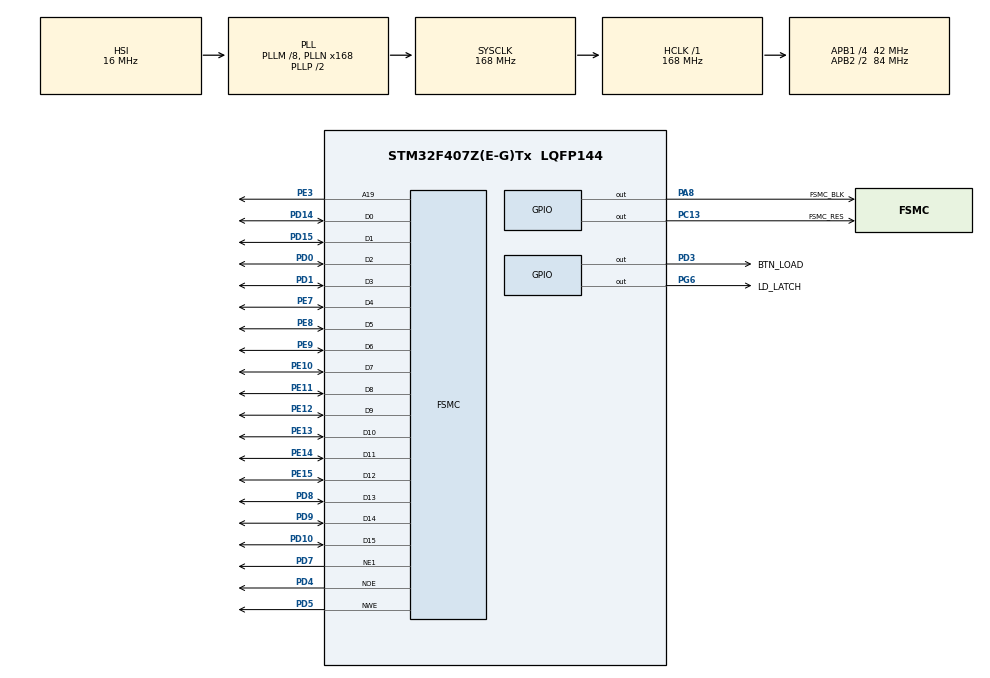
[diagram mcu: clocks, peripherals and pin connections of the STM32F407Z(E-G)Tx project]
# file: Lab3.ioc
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FSMC.AddressSetupTime1=0xf
FSMC.BusTurnAroundDuration1=0
FSMC.DataSetupTime1=60
FSMC.ExtendedAddressSetupTime1=8
FSMC.ExtendedBusTurnAroundDuration1=0
FSMC.ExtendedDataSetupTime1=9
FSMC.ExtendedMode1=FSMC_EXTENDED_MODE_ENABLE
Mcu.Family=STM32F4
Mcu.Name=STM32F407Z(E-G)Tx
Mcu.Package=LQFP144
NVIC.PriorityGroup=NVIC_PRIORITYGROUP_4
PA13.Mode=Serial_Wire
PA13.Signal=SYS_JTMS-SWDIO
PA14.Mode=Serial_Wire
PA14.Signal=SYS_JTCK-SWCLK
PA8.GPIO_Label=FSMC_BLK
PA8.Signal=GPIO_Output
PB3.Signal=SPI1_SCK
PB4.Signal=SPI1_MISO
PB5.Signal=SPI1_MOSI
PC13-ANTI_TAMP.GPIO_Label=FSMC_RES
PC13-ANTI_TAMP.Signal=GPIO_Output
PD0.Signal=FSMC_D2_DA2
PD1.Signal=FSMC_D3_DA3
PD10.Signal=FSMC_D15_DA15
PD14.Signal=FSMC_D0_DA0
PD15.Signal=FSMC_D1_DA1
PD3.GPIO_Label=BTN_LOAD
PD3.Signal=GPIO_Output
PD4.Signal=FSMC_NOE
PD5.Signal=FSMC_NWE
PD7.Mode=NorPsramChipSelect1_1
PD7.Signal=FSMC_NE1
PD8.Signal=FSMC_D13_DA13
PD9.Signal=FSMC_D14_DA14
PE10.Signal=FSMC_D7_DA7
PE11.Signal=FSMC_D8_DA8
PE12.Signal=FSMC_D9_DA9
PE13.Signal=FSMC_D10_DA10
PE14.Signal=FSMC_D11_DA11
PE15.Signal=FSMC_D12_DA12
PE3.Signal=FSMC_A19
PE7.Signal=FSMC_D4_DA4
PE8.Signal=FSMC_D5_DA5
PE9.Signal=FSMC_D6_DA6
PG6.GPIO_Label=LD_LATCH
PG6.Signal=GPIO_Output
PH0-OSC_IN.Mode=HSE-External-Oscillator
PH0-OSC_IN.Signal=RCC_OSC_IN
PH1-OSC_OUT.Mode=HSE-External-Oscillator
PH1-OSC_OUT.Signal=RCC_OSC_OUT
ProjectManager.HeapSize=0x200
ProjectManager.StackSize=0x400
ProjectManager.TargetToolchain=STM32CubeIDE
RCC.48MHZClocksFreq_Value=84000000
RCC.AHBFreq_Value=168000000
RCC.APB1CLKDivider=RCC_HCLK_DIV4
RCC.APB1Freq_Value=42000000
RCC.APB1TimFreq_Value=84000000
RCC.APB2CLKDivider=RCC_HCLK_DIV2
RCC.APB2Freq_Value=84000000
RCC.APB2TimFreq_Value=168000000
RCC.CortexFreq_Value=168000000
RCC.HCLKFreq_Value=168000000
RCC.HSE_VALUE=8000000
RCC.HSI_VALUE=16000000
RCC.LSE_VALUE=32768
RCC.PLLM=8
RCC.PLLN=168
RCC.SYSCLKFreq_VALUE=168000000
RCC.SYSCLKSource=RCC_SYSCLKSOURCE_PLLCLK
RCC.VCOOutputFreq_Value=336000000
SH.FSMC_A19.0=FSMC_A19,A19_1
SH.FSMC_D0_DA0.0=FSMC_D0,16b-d1
SH.FSMC_D10_DA10.0=FSMC_D10,16b-d1
SH.FSMC_D11_DA11.0=FSMC_D11,16b-d1
SH.FSMC_D12_DA12.0=FSMC_D12,16b-d1
SH.FSMC_D13_DA13.0=FSMC_D13,16b-d1
SH.FSMC_D14_DA14.0=FSMC_D14,16b-d1
SH.FSMC_D15_DA15.0=FSMC_D15,16b-d1
SH.FSMC_D1_DA1.0=FSMC_D1,16b-d1
SH.FSMC_D2_DA2.0=FSMC_D2,16b-d1
SH.FSMC_D3_DA3.0=FSMC_D3,16b-d1
SH.FSMC_D4_DA4.0=FSMC_D4,16b-d1
SH.FSMC_D5_DA5.0=FSMC_D5,16b-d1
SH.FSMC_D6_DA6.0=FSMC_D6,16b-d1
SH.FSMC_D7_DA7.0=FSMC_D7,16b-d1
SH.FSMC_D8_DA8.0=FSMC_D8,16b-d1
SH.FSMC_D9_DA9.0=FSMC_D9,16b-d1
SH.FSMC_NOE.0=FSMC_NOE,Lcd1
SH.FSMC_NWE.0=FSMC_NWE,Lcd1
board=custom

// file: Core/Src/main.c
/* USER CODE BEGIN Header */
/**
  ******************************************************************************
  * @file           : main.c
  * @brief          : Main program body
  ******************************************************************************
  * @attention
  *
  * Copyright (c) 2024 STMicroelectronics.
  * All rights reserved.
  *
  * This software is licensed under terms that can be found in the LICENSE file
  * in the root directory of this software component.
  * If no LICENSE file comes with this software, it is provided AS-IS.
  *
  ******************************************************************************
  */
/* USER CODE END Header */
#include "main.h"

/* USER CODE BEGIN Includes */
#include "button.h"
#include "lcd.h"
#include "software_timer.h"
/* USER CODE END Includes */

/* USER CODE BEGIN PTD */
typedef enum {
    MODE_NORMAL,
    MODE_ADJUST_RED,
    MODE_ADJUST_GREEN,
    MODE_ADJUST_YELLOW
} TrafficLightMode;

TrafficLightMode current_mode = MODE_NORMAL;
uint8_t red_cycle = 10, green_cycle = 10, yellow_cycle = 5; // Default durations

/* USER CODE END PTD */

SRAM_HandleTypeDef hsram1;

void SystemClock_Config(void);
static void MX_GPIO_Init(void);
static void MX_FSMC_Init(void);
/* USER CODE BEGIN PFP */
void system_init() {
    button_init();
    lcd_init();
    setTimer2(50); // 50ms timer
}

void display_status(const char* message, uint16_t fc, uint16_t bc) {
    lcd_Clear(bc);
    lcd_ShowStr(10, 10, (char*)message, fc, bc, 16, 0);
}
/* USER CODE END PFP */

/* USER CODE BEGIN 0 */
void handle_buttons() {
    if (button_count[0] == 1) { // Button 1: Switch Mode
        current_mode = (current_mode + 1) % 4; // Cycle through modes
    }

    if (current_mode != MODE_NORMAL) {
        if (button_count[1] == 1) { // Button 2: Adjust duration
            switch (current_mode) {
                case MODE_ADJUST_RED: red_cycle++; break;
                case MODE_ADJUST_GREEN: green_cycle++; break;
                case MODE_ADJUST_YELLOW: yellow_cycle++; break;
            }
        }
        if (button_count[2] == 1) { // Button 3: Confirm
            // Confirm adjustment and return to NORMAL
            current_mode = MODE_NORMAL;
        }
    }
}

void normal_mode() {
    static uint8_t counter = 0;
    uint8_t remaining_time = 0;

    if (counter < red_cycle) {
        remaining_time = red_cycle - counter;
        display_status("Red Light", RED, BLACK);
    } else if (counter < red_cycle + green_cycle) {
        remaining_time = red_cycle + green_cycle - counter;
        display_status("Green Light", GREEN, BLACK);
    } else {
        remaining_time = red_cycle + green_cycle + yellow_cycle - counter;
        display_status("Yellow Light", YELLOW, BLACK);
    }

    // Display remaining time on the LCD
    char buffer[16];
    snprintf(buffer, 16, "Time: %d", remaining_time);
    lcd_ShowStr(10, 50, buffer, WHITE, BLACK, 16, 0);

    counter = (counter + 1) % (red_cycle + green_cycle + yellow_cycle);
}

void adjustment_mode() {
    char buffer[32];
    switch (current_mode) {
        case MODE_ADJUST_RED:
            snprintf(buffer, 32, "Adjust Red: %d", red_cycle);
            display_status(buffer, RED, BLACK);
            break;
        case MODE_ADJUST_GREEN:
            snprintf(buffer, 32, "Adjust Green: %d", green_cycle);
            display_status(buffer, GREEN, BLACK);
            break;
        case MODE_ADJUST_YELLOW:
            snprintf(buffer, 32, "Adjust Yellow: %d", yellow_cycle);
            display_status(buffer, YELLOW, BLACK);
            break;
    }
}
/* USER CODE END 0 */

int main(void)
{

  /* MCU Configuration--------------------------------------------------------*/

  /* Reset of all peripherals, Initializes the Flash interface and the Systick. */
  HAL_Init();

  /* USER CODE BEGIN Init */
  system_init();
  lcd_Clear(BLACK);
  /* USER CODE END Init */

  /* Configure the system clock */
  SystemClock_Config();

  /* Initialize all configured peripherals */
  MX_GPIO_Init();
  MX_FSMC_Init();

  /* Infinite loop */
  while (1)
  {
	    system_init();
	    lcd_Clear(BLACK);

	    while (1) {
	        while (!flag_timer2);
	        flag_timer2 = 0;

	        button_Scan();
	        handle_buttons();

	        if (current_mode == MODE_NORMAL) {
	            normal_mode();
	        } else {
	            adjustment_mode();
	        }
	    }
  }
}

void SystemClock_Config(void)
{
  RCC_OscInitTypeDef RCC_OscInitStruct = {0};
  RCC_ClkInitTypeDef RCC_ClkInitStruct = {0};

  /** Configure the main internal regulator output voltage
  */
  __HAL_RCC_PWR_CLK_ENABLE();
  __HAL_PWR_VOLTAGESCALING_CONFIG(PWR_REGULATOR_VOLTAGE_SCALE1);

  /** Initializes the RCC Oscillators according to the specified parameters
  * in the RCC_OscInitTypeDef structure.
  */
  RCC_OscInitStruct.OscillatorType = RCC_OSCILLATORTYPE_HSI;
  RCC_OscInitStruct.HSIState = RCC_HSI_ON;
  RCC_OscInitStruct.HSICalibrationValue = RCC_HSICALIBRATION_DEFAULT;
  RCC_OscInitStruct.PLL.PLLState = RCC_PLL_ON;
  RCC_OscInitStruct.PLL.PLLSource = RCC_PLLSOURCE_HSI;
  RCC_OscInitStruct.PLL.PLLM = 8;
  RCC_OscInitStruct.PLL.PLLN = 168;
  RCC_OscInitStruct.PLL.PLLP = RCC_PLLP_DIV2;
  RCC_OscInitStruct.PLL.PLLQ = 4;
  if (HAL_RCC_OscConfig(&RCC_OscInitStruct) != HAL_OK)
  {
    Error_Handler();
  }

  /** Initializes the CPU, AHB and APB buses clocks
  */
  RCC_ClkInitStruct.ClockType = RCC_CLOCKTYPE_HCLK|RCC_CLOCKTYPE_SYSCLK
                              |RCC_CLOCKTYPE_PCLK1|RCC_CLOCKTYPE_PCLK2;
  RCC_ClkInitStruct.SYSCLKSource = RCC_SYSCLKSOURCE_PLLCLK;
  RCC_ClkInitStruct.AHBCLKDivider = RCC_SYSCLK_DIV1;
  RCC_ClkInitStruct.APB1CLKDivider = RCC_HCLK_DIV4;
  RCC_ClkInitStruct.APB2CLKDivider = RCC_HCLK_DIV2;

  if (HAL_RCC_ClockConfig(&RCC_ClkInitStruct, FLASH_LATENCY_5) != HAL_OK)
  {
    Error_Handler();
  }
}

static void MX_GPIO_Init(void)
{
  GPIO_InitTypeDef GPIO_InitStruct = {0};

  /* GPIO Ports Clock Enable */
  __HAL_RCC_GPIOE_CLK_ENABLE();
  __HAL_RCC_GPIOC_CLK_ENABLE();
  __HAL_RCC_GPIOH_CLK_ENABLE();
  __HAL_RCC_GPIOD_CLK_ENABLE();
  __HAL_RCC_GPIOG_CLK_ENABLE();
  __HAL_RCC_GPIOA_CLK_ENABLE();
  __HAL_RCC_GPIOB_CLK_ENABLE();

  /*Configure GPIO pin Output Level */
  HAL_GPIO_WritePin(FSMC_RES_GPIO_Port, FSMC_RES_Pin, GPIO_PIN_RESET);

  /*Configure GPIO pin Output Level */
  HAL_GPIO_WritePin(LD_LATCH_GPIO_Port, LD_LATCH_Pin, GPIO_PIN_RESET);

  /*Configure GPIO pin Output Level */
  HAL_GPIO_WritePin(FSMC_BLK_GPIO_Port, FSMC_BLK_Pin, GPIO_PIN_RESET);

  /*Configure GPIO pin Output Level */
  HAL_GPIO_WritePin(BTN_LOAD_GPIO_Port, BTN_LOAD_Pin, GPIO_PIN_RESET);

  /*Configure GPIO pin : FSMC_RES_Pin */
  GPIO_InitStruct.Pin = FSMC_RES_Pin;
  GPIO_InitStruct.Mode = GPIO_MODE_OUTPUT_PP;
  GPIO_InitStruct.Pull = GPIO_NOPULL;
  GPIO_InitStruct.Speed = GPIO_SPEED_FREQ_LOW;
  HAL_GPIO_Init(FSMC_RES_GPIO_Port, &GPIO_InitStruct);

  /*Configure GPIO pin : LD_LATCH_Pin */
  GPIO_InitStruct.Pin = LD_LATCH_Pin;
  GPIO_InitStruct.Mode = GPIO_MODE_OUTPUT_PP;
  GPIO_InitStruct.Pull = GPIO_NOPULL;
  GPIO_InitStruct.Speed = GPIO_SPEED_FREQ_LOW;
  HAL_GPIO_Init(LD_LATCH_GPIO_Port, &GPIO_InitStruct);

  /*Configure GPIO pin : FSMC_BLK_Pin */
  GPIO_InitStruct.Pin = FSMC_BLK_Pin;
  GPIO_InitStruct.Mode = GPIO_MODE_OUTPUT_PP;
  GPIO_InitStruct.Pull = GPIO_NOPULL;
  GPIO_InitStruct.Speed = GPIO_SPEED_FREQ_LOW;
  HAL_GPIO_Init(FSMC_BLK_GPIO_Port, &GPIO_InitStruct);

  /*Configure GPIO pin : BTN_LOAD_Pin */
  GPIO_InitStruct.Pin = BTN_LOAD_Pin;
  GPIO_InitStruct.Mode = GPIO_MODE_OUTPUT_PP;
  GPIO_InitStruct.Pull = GPIO_NOPULL;
  GPIO_InitStruct.Speed = GPIO_SPEED_FREQ_LOW;
  HAL_GPIO_Init(BTN_LOAD_GPIO_Port, &GPIO_InitStruct);

  /*Configure GPIO pins : PB3 PB4 PB5 */
  GPIO_InitStruct.Pin = GPIO_PIN_3|GPIO_PIN_4|GPIO_PIN_5;
  GPIO_InitStruct.Mode = GPIO_MODE_AF_PP;
  GPIO_InitStruct.Pull = GPIO_NOPULL;
  GPIO_InitStruct.Speed = GPIO_SPEED_FREQ_VERY_HIGH;
  GPIO_InitStruct.Alternate = GPIO_AF5_SPI1;
  HAL_GPIO_Init(GPIOB, &GPIO_InitStruct);

}

/* FSMC initialization function */
static void MX_FSMC_Init(void)
{

  FSMC_NORSRAM_TimingTypeDef Timing = {0};
  FSMC_NORSRAM_TimingTypeDef ExtTiming = {0};

  /** Perform the SRAM1 memory initialization sequence
  */
  hsram1.Instance = FSMC_NORSRAM_DEVICE;
  hsram1.Extended = FSMC_NORSRAM_EXTENDED_DEVICE;
  /* hsram1.Init */
  hsram1.Init.NSBank = FSMC_NORSRAM_BANK1;
  hsram1.Init.DataAddressMux = FSMC_DATA_ADDRESS_MUX_DISABLE;
  hsram1.Init.MemoryType = FSMC_MEMORY_TYPE_SRAM;
  hsram1.Init.MemoryDataWidth = FSMC_NORSRAM_MEM_BUS_WIDTH_16;
  hsram1.Init.BurstAccessMode = FSMC_BURST_ACCESS_MODE_DISABLE;
  hsram1.Init.WaitSignalPolarity = FSMC_WAIT_SIGNAL_POLARITY_LOW;
  hsram1.Init.WrapMode = FSMC_WRAP_MODE_DISABLE;
  hsram1.Init.WaitSignalActive = FSMC_WAIT_TIMING_BEFORE_WS;
  hsram1.Init.WriteOperation = FSMC_WRITE_OPERATION_ENABLE;
  hsram1.Init.WaitSignal = FSMC_WAIT_SIGNAL_DISABLE;
  hsram1.Init.ExtendedMode = FSMC_EXTENDED_MODE_ENABLE;
  hsram1.Init.AsynchronousWait = FSMC_ASYNCHRONOUS_WAIT_DISABLE;
  hsram1.Init.WriteBurst = FSMC_WRITE_BURST_DISABLE;
  hsram1.Init.PageSize = FSMC_PAGE_SIZE_NONE;
  /* Timing */
  Timing.AddressSetupTime = 0xf;
  Timing.AddressHoldTime = 15;
  Timing.DataSetupTime = 60;
  Timing.BusTurnAroundDuration = 0;
  Timing.CLKDivision = 16;
  Timing.DataLatency = 17;
  Timing.AccessMode = FSMC_ACCESS_MODE_A;
  /* ExtTiming */
  ExtTiming.AddressSetupTime = 8;
  ExtTiming.AddressHoldTime = 15;
  ExtTiming.DataSetupTime = 9;
  ExtTiming.BusTurnAroundDuration = 0;
  ExtTiming.CLKDivision = 16;
  ExtTiming.DataLatency = 17;
  ExtTiming.AccessMode = FSMC_ACCESS_MODE_A;

  if (HAL_SRAM_Init(&hsram1, &Timing, &ExtTiming) != HAL_OK)
  {
    Error_Handler( );
  }

}

void Error_Handler(void)
{
  __disable_irq();
  while (1)
  {
  }
}
